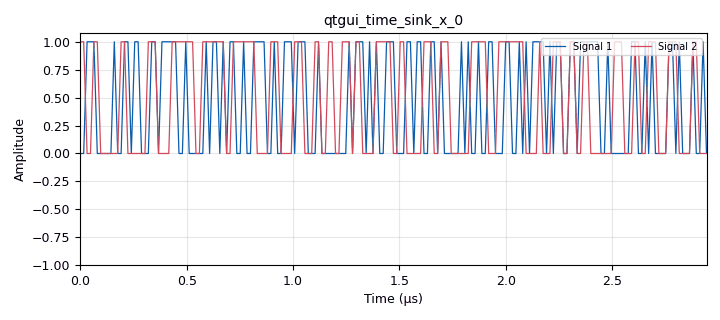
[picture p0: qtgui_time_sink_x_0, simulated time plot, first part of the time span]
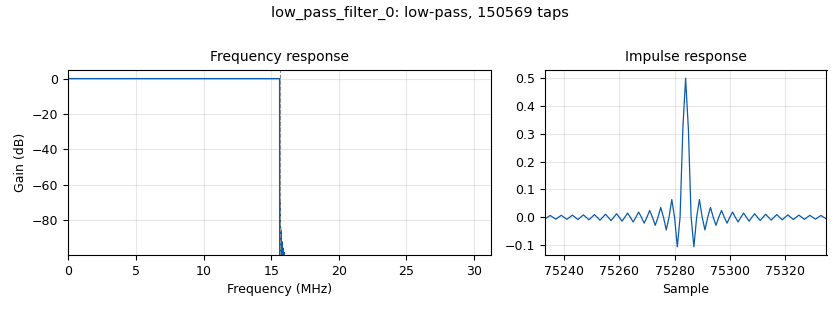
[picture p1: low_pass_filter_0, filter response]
options:
  parameters:
    author: Diego_Sindy
    generate_options: qt_gui
    id: BER
    output_language: python
    title: BERComu2
  states: {}

blocks:
- name: B
  id: variable_qtgui_range
  parameters:
    label: '# Muestras por simbolo (SPS)'
    rangeType: int
    start: '1'
    step: '1'
    stop: '12'
    value: '8'
  states: {}
- name: DC
  id: variable_qtgui_range
  parameters:
    label: Nivel Dc de la señal modulante
    start: '-8'
    step: '100e-3'
    stop: '8'
    value: '-1'
  states: {}
- name: 'No'
  id: variable_qtgui_range
  parameters:
    label: Amplitud Ruido
    start: '0'
    step: '100e-6'
    stop: '800e-3'
    value: '0.562'
  states: {}
- name: n
  id: variable_qtgui_range
  parameters:
    label: '# de bit por simbolo'
    rangeType: int
    start: '1'
    step: '1'
    stop: '4'
    value: '1'
  states: {}
- name: samp_rate
  id: variable
  parameters:
    value: 125000000/2
  states: {}
- name: analog_noise_source_x_0
  id: analog_noise_source_x
  parameters:
    amp: 'No'
    noise_type: analog.GR_GAUSSIAN
    seed: '0'
    type: float
  states: {}
- name: analog_random_source_x_0
  id: analog_random_source_x
  parameters:
    max: int(math.pow(2,n))
    min: '0'
    num_samps: '10000000'
    repeat: 'False'
    type: byte
  states: {}
- name: blocks_add_const_vxx_0
  id: blocks_add_const_vxx
  parameters:
    const: DC
    type: float
  states: {}
- name: blocks_add_xx_0
  id: blocks_add_xx
  parameters:
    type: float
  states: {}
- name: blocks_char_to_float_0
  id: blocks_char_to_float
  parameters:
    scale: '500e-3'
  states: {}
- name: blocks_char_to_float_0_0
  id: blocks_char_to_float
  parameters:
    scale: '1'
  states: {}
- name: blocks_char_to_float_0_1
  id: blocks_char_to_float
  parameters:
    scale: '1'
  states: {}
- name: blocks_pack_k_bits_bb_0
  id: blocks_pack_k_bits_bb
  parameters:
    k: B
  states: {}
- name: blocks_pack_k_bits_bb_1
  id: blocks_pack_k_bits_bb
  parameters:
    k: B
  states: {}
- name: digital_binary_slicer_fb_0
  id: digital_binary_slicer_fb
  parameters: {}
  states: {}
- name: fec_ber_bf_0
  id: fec_ber_bf
  parameters:
    berlimit: '-12.0'
    test_mode: 'False'
  states: {}
- name: import_0
  id: import
  parameters:
    imports: import math
  states: {}
- name: low_pass_filter_0
  id: low_pass_filter
  parameters:
    cutoff_freq: (samp_rate)/4
    decim: '1'
    gain: '1'
    samp_rate: samp_rate
    type: fir_filter_fff
    width: '1000'
    win: window.WIN_HAMMING
  states: {}
- name: qtgui_number_sink_0
  id: qtgui_number_sink
  parameters:
    autoscale: 'True'
    graph_type: qtgui.NUM_GRAPH_HORIZ
    min: '-10'
    name: '"BER"'
    type: float
  states: {}
- name: qtgui_time_sink_x_0
  id: qtgui_time_sink_x
  parameters:
    nconnections: '2'
    size: 1024*8
    srate: samp_rate
    type: float
  states: {}
- name: virtual_sink_0
  id: virtual_sink
  parameters:
    stream_id: m_t
  states: {}
- name: virtual_source_0
  id: virtual_source
  parameters:
    stream_id: m_t
  states: {}

connections:
- [analog_noise_source_x_0, '0', blocks_add_xx_0, '1']
- [analog_random_source_x_0, '0', blocks_char_to_float_0, '0']
- [analog_random_source_x_0, '0', blocks_char_to_float_0_0, '0']
- [analog_random_source_x_0, '0', blocks_pack_k_bits_bb_0, '0']
- [blocks_add_const_vxx_0, '0', virtual_sink_0, '0']
- [blocks_add_xx_0, '0', low_pass_filter_0, '0']
- [blocks_char_to_float_0, '0', blocks_add_const_vxx_0, '0']
- [blocks_char_to_float_0_0, '0', qtgui_time_sink_x_0, '0']
- [blocks_char_to_float_0_1, '0', qtgui_time_sink_x_0, '1']
- [blocks_pack_k_bits_bb_0, '0', fec_ber_bf_0, '0']
- [blocks_pack_k_bits_bb_1, '0', fec_ber_bf_0, '1']
- [digital_binary_slicer_fb_0, '0', blocks_char_to_float_0_1, '0']
- [digital_binary_slicer_fb_0, '0', blocks_pack_k_bits_bb_1, '0']
- [fec_ber_bf_0, '0', qtgui_number_sink_0, '0']
- [low_pass_filter_0, '0', digital_binary_slicer_fb_0, '0']
- [virtual_source_0, '0', blocks_add_xx_0, '0']

metadata:
  file_format: 1
